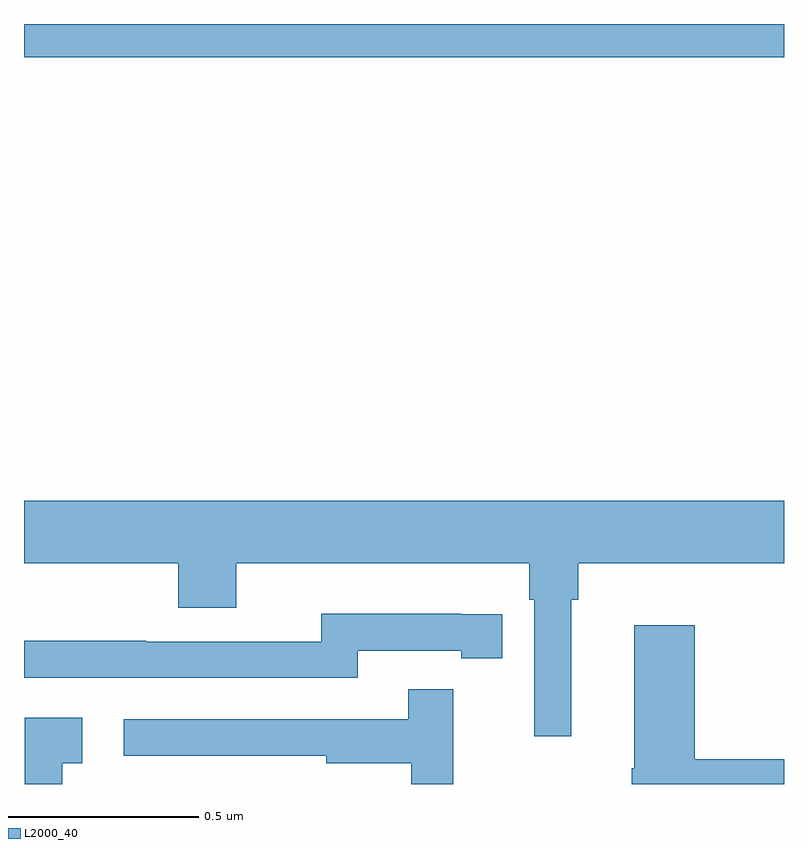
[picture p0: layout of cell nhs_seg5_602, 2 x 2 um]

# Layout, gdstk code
import gdstk
lib = gdstk.Library(unit=1e-6, precision=1e-09)
def R(c, l, rs):  # rectangles x0, y0, x1, y1
    for r in rs: c.add(gdstk.rectangle(r[:2], r[2:], *l))
def P(c, l, *ps):  # polygons
    for p in ps: c.add(gdstk.Polygon(p, *l))
L2000_40 = (2000, 40)

nhs_seg5_602 = lib.new_cell('nhs_seg5_602')
R(nhs_seg5_602, L2000_40, [(118,904.712,120,904.799)])
P(nhs_seg5_602, L2000_40, [(119.44,903.284),(119.459,903.284),(119.459,903.38),(120,903.38),(120,903.544),(118,903.544),(118,903.38),(118.406,903.38),(118.406,903.263),(118.558,903.263),(118.558,903.38),(119.33,903.38),(119.33,903.284),(119.343,903.284),(119.343,902.925),(119.44,902.925)],
  [(118.878,903.15),(119.15,903.15),(119.15,903.13),(119.258,903.13),(119.258,903.246),(119.15,903.246),(119.15,903.247),(118.782,903.247),(118.782,903.174),(118.322,903.174),(118.322,903.176),(118,903.176),(118,903.078),(118.878,903.078)],
  [(120,902.864),(119.765,902.864),(119.765,903.217),(119.606,903.217),(119.606,902.841),(119.599,902.841),(119.599,902.799),(120,902.799)],
  [(119.129,903.049),(119.011,903.049),(119.011,902.97),(118.263,902.97),(118.263,902.874),(118.795,902.874),(118.795,902.854),(119.019,902.854),(119.019,902.799),(119.129,902.799)],
  [(118.1,902.853),(118.153,902.853),(118.153,902.974),(118.002,902.974),(118.002,902.799),(118.1,902.799)])

lib.write_gds('nhs_seg5_602.gds')
